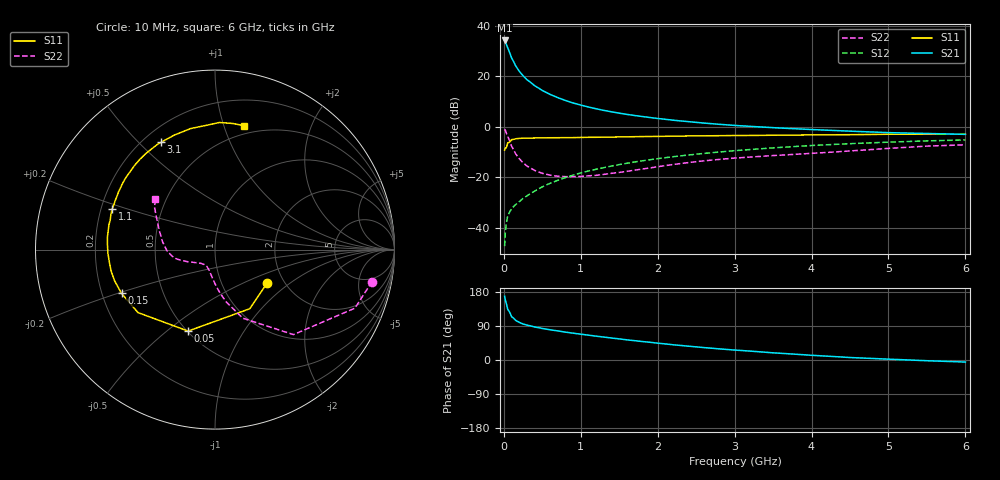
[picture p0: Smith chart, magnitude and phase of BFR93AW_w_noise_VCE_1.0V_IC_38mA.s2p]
! Infineon Technologies  Discrete & RF Semiconductors
! BFR93AW
! VCE =  1.0 V,  IC =  38 mA
! Common Emitter S-Parameters:  Jan 2017
# GHz  S  MA  R  50
!  f  S11  S21  S12  S22
! GHz  MAG  ANG  MAG  ANG  MAG  ANG  MAG  ANG
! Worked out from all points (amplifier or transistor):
!   77 points, 10 MHz to 6 GHz, reference 50 ohm
!   highest |S21| = 34.1 dB at 10 MHz (marker M1)
!   |S21| within 3 dB of that: start of sweep to 51.45 MHz
!   unconditionally stable (mu >= 1): 298.6 MHz to 3.322 GHz
!   at 130 MHz: K = 0.68, MSG = 28.6 dB, |S12| = -31.6 dB
!   at 2.2 GHz: K = 1.05, MAG = 5.8 dB, |S12| = -11.9 dB
!   at 6 GHz: K = 0.99, MSG = 1.1 dB, |S12| = -5.2 dB
!   lowest NFmin = 1.99 dB at 450 MHz
!   S11 on the Smith chart (normalised r, x): 10 MHz: 1.65, -0.69; 50 MHz: 0.50, -0.59; 150 MHz: 0.28, -0.21; 1.1 GHz: 0.25, +0.18; 3.1 GHz: 0.27, +0.58; 6 GHz: 0.42, +1.17
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0.01  0.3452 -32.1  50.98 168.3  0.0043 77.7  0.893 -11.5
0.02  0.3822 -59.6  48.73 157.6  0.0085 71.3  0.8452 -22.7
0.05  0.4781 -108.3  36.53 133.7  0.017 58.5  0.6445 -47.3
0.1  0.5542 -140.7  23.14 114.4  0.0236 53.8  0.4127 -67.9
0.15  0.575 -154.9  16.38 105.0  0.0283 54.6  0.2959 -78.2
0.2  0.5863 -163.0  12.56 99.3  0.0327 57.9  0.2327 -84.6
0.25  0.591 -168.4  10.19 95.0  0.038 60.3  0.1931 -89.6
0.3  0.5922 -172.4  8.534 92.1  0.0426 62.3  0.1662 -93.8
0.4  0.5971 -178.2  6.477 87.1  0.0529 65.2  0.1361 -100.4
0.5  0.5998 177.4  5.207 83.2  0.0643 66.9  0.1191 -106.1
0.6  0.6035 173.4  4.369 79.8  0.0755 68.0  0.1098 -111.5
0.7  0.6041 170.2  3.762 76.8  0.0864 68.9  0.1043 -115.9
0.9  0.6067 164.1  2.947 70.8  0.1097 68.5  0.1027 -124.3
1.1  0.6159 158.6  2.451 65.6  0.1327 67.9  0.1063 -131.4
1.3  0.6198 153.5  2.1 60.5  0.1544 66.2  0.1135 -137.8
1.5  0.6263 149.2  1.85 55.7  0.1774 64.6  0.1242 -144.2
2.1  0.6447 135.7  1.399 42.4  0.2433 58.5  0.1695 -156.8
2.6  0.6593 125.9  1.179 32.8  0.295 52.9  0.2107 -164.7
3.1  0.6692 116.6  1.037 24.9  0.3433 47.0  0.2443 -172.3
4.1  0.6882 100.0  0.865 11.3  0.4308 35.3  0.3024 168.9
5.1  0.7082 86.8  0.756 1.4  0.4996 23.8  0.3791 150.0
6  0.7093 76.9  0.704 -5.4  0.5466 14.2  0.4372 139.4
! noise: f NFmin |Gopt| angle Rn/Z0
0.45  1.99  0.22  179  0.16
0.9  2.27  0.28  -171  0.17
1.9  3.33  0.52  -133  0.34
2.4  4.02  0.56  -123  0.63
